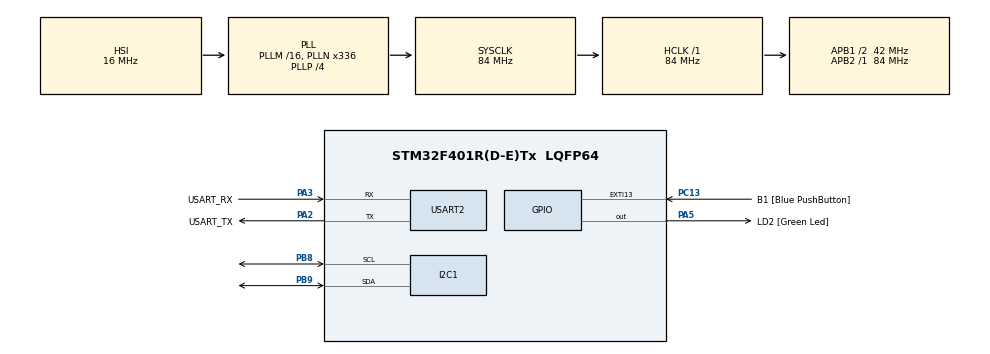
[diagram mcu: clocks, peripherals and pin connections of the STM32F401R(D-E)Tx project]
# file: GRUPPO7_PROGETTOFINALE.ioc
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Mcu.Family=STM32F4
Mcu.Name=STM32F401R(D-E)Tx
Mcu.Package=LQFP64
NVIC.PriorityGroup=NVIC_PRIORITYGROUP_0
PA13.GPIO_Label=TMS
PA13.Mode=Serial_Wire
PA13.Signal=SYS_JTMS-SWDIO
PA14.GPIO_Label=TCK
PA14.Mode=Serial_Wire
PA14.Signal=SYS_JTCK-SWCLK
PA2.GPIO_Label=USART_TX
PA2.GPIO_Mode=GPIO_MODE_AF_PP
PA2.GPIO_PuPd=GPIO_NOPULL
PA2.GPIO_Speed=GPIO_SPEED_FREQ_LOW
PA2.Mode=Asynchronous
PA2.Signal=USART2_TX
PA3.GPIO_Label=USART_RX
PA3.GPIO_Mode=GPIO_MODE_AF_PP
PA3.GPIO_PuPd=GPIO_NOPULL
PA3.GPIO_Speed=GPIO_SPEED_FREQ_LOW
PA3.Mode=Asynchronous
PA3.Signal=USART2_RX
PA5.GPIO_Label=LD2 [Green Led]
PA5.GPIO_Mode=GPIO_MODE_OUTPUT_PP
PA5.GPIO_PuPd=GPIO_NOPULL
PA5.GPIO_Speed=GPIO_SPEED_FREQ_LOW
PA5.Signal=GPIO_Output
PB3.GPIO_Label=SWO
PB3.Signal=SYS_JTDO-SWO
PB8.Mode=I2C
PB8.Signal=I2C1_SCL
PB9.Mode=I2C
PB9.Signal=I2C1_SDA
PC13-ANTI_TAMP.GPIO_Label=B1 [Blue PushButton]
PC13-ANTI_TAMP.GPIO_ModeDefaultEXTI=GPIO_MODE_IT_FALLING
PC13-ANTI_TAMP.GPIO_PuPd=GPIO_NOPULL
PC13-ANTI_TAMP.Signal=GPXTI13
PC14-OSC32_IN.Mode=LSE-External-Oscillator
PC14-OSC32_IN.Signal=RCC_OSC32_IN
PC15-OSC32_OUT.Mode=LSE-External-Oscillator
PC15-OSC32_OUT.Signal=RCC_OSC32_OUT
PH0\ -\ OSC_IN.Mode=HSE-External-Clock-Source
PH0\ -\ OSC_IN.Signal=RCC_OSC_IN
PH1\ -\ OSC_OUT.Mode=HSE-External-Clock-Source
PH1\ -\ OSC_OUT.Signal=RCC_OSC_OUT
ProjectManager.HeapSize=0x200
ProjectManager.StackSize=0x400
ProjectManager.TargetToolchain=STM32CubeIDE
RCC.48MHZClocksFreq_Value=48000000
RCC.AHBFreq_Value=84000000
RCC.APB1CLKDivider=RCC_HCLK_DIV2
RCC.APB1Freq_Value=42000000
RCC.APB1TimFreq_Value=84000000
RCC.APB2Freq_Value=84000000
RCC.APB2TimFreq_Value=84000000
RCC.CortexFreq_Value=84000000
RCC.HCLKFreq_Value=84000000
RCC.HSE_VALUE=8000000
RCC.HSI_VALUE=16000000
RCC.PLLN=336
RCC.PLLP=RCC_PLLP_DIV4
RCC.PLLQ=7
RCC.SYSCLKFreq_VALUE=84000000
RCC.SYSCLKSource=RCC_SYSCLKSOURCE_PLLCLK
RCC.VCOOutputFreq_Value=336000000
USART2.VirtualMode=VM_ASYNC
board=NUCLEO-F401RE

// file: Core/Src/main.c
/* USER CODE BEGIN Header */
/**
  ******************************************************************************
  * @file           : main.c
  * @brief          : Main program body
  ******************************************************************************
  * @attention
  *
  * Copyright (c) 2022 STMicroelectronics.
  * All rights reserved.
  *
  * This software is licensed under terms that can be found in the LICENSE file
  * in the root directory of this software component.
  * If no LICENSE file comes with this software, it is provided AS-IS.
  *
  ******************************************************************************
  */
/* USER CODE END Header */
#include "main.h"

/* USER CODE BEGIN Includes */
#include "stdio.h"
#include "lsm6dsox_read_data_polling.h"
#include "arm_math.h"
/* USER CODE END Includes */

/* USER CODE BEGIN PV */
#define I2C_REQUEST_WRITE                       0x00
#define I2C_REQUEST_READ                        0x01

#define FFT_Length  							1024

float32_t FFT_Input_Q15_f[50];
float32_t aFFT_Input_Q15[50];

/* USER CODE END PM */

/* Private variables ---------------------------------------------------------*/

/* USER CODE BEGIN PV */
char msg_uart[2000];
int size_uart_tx = 0;
int elapsed_time = 0;

/* Print function */
void print_uart(char *msg, int size_tx)
{
	while(!(USART2->SR & USART_SR_TC));

	for (int inx_pck=0; inx_pck<size_tx; inx_pck++)
	{
	  LL_USART_TransmitData8(USART2, msg[inx_pck]);
	  while(!(USART2->SR & USART_SR_TC));
	}
}

/* I2C write function */
void i2c_write(uint8_t dev_addr, uint8_t reg, uint8_t *data, int tx_size)
{
	/* Prepare CAK for Master data RX */
	//LL_I2C_AcknowledgeNextData(I2C1, LL_I2C_ACK);

	/* Master generates Start condition */
	LL_I2C_GenerateStartCondition(I2C1);

	while(!LL_I2C_IsActiveFlag_SB(I2C1));

	/* Send Slave address with a 7-Bit SLAVE_OWN_ADDRESS for a write request */
	LL_I2C_TransmitData8(I2C1, (uint8_t)(dev_addr<<1)| I2C_REQUEST_WRITE);

	/* Address of the device */
	while(!LL_I2C_IsActiveFlag_ADDR(I2C1));

	LL_I2C_ClearFlag_ADDR(I2C1);

	/* TX the register */
	LL_I2C_TransmitData8(I2C1, reg);

	/* Wait until the TX register is emptied */
	while(!LL_I2C_IsActiveFlag_TXE(I2C1));

	/* Send the data */
	for(int inx_tx = 0; inx_tx<tx_size; inx_tx++)
	{
		LL_I2C_TransmitData8(I2C1, data[inx_tx]);

		while(!LL_I2C_IsActiveFlag_TXE(I2C1));

	}

	/* Master generates Stop condition */
	LL_I2C_GenerateStopCondition(I2C1);

	while(LL_I2C_IsActiveFlag_BUSY(I2C1));

}

/* I2C read function */
void i2c_read(uint8_t dev_addr, uint8_t reg, uint8_t *data_received, int rx_size)
{
	/*Starting the tx part to ping the sensor */
	/* Master generates Start condition */
	LL_I2C_GenerateStartCondition(I2C1);

	/* Wait for the start bit to show up */
	while(!LL_I2C_IsActiveFlag_SB(I2C1));

	/* Send Slave address with a 7-Bit SLAVE_OWN_ADDRESS for a write request */
	LL_I2C_TransmitData8(I2C1, (uint8_t)(dev_addr<<1)| I2C_REQUEST_WRITE);

	/* Wait until the ADDR is acknowledged */
	while(!LL_I2C_IsActiveFlag_ADDR(I2C1));

	/* Clear ADDR flag value in ISR register */
	LL_I2C_ClearFlag_ADDR(I2C1);

	/* Send the register to be read */
	LL_I2C_TransmitData8(I2C1, (uint8_t)reg);

	/* Wait for the tx to finish */
	while(!LL_I2C_IsActiveFlag_TXE(I2C1));

	/*Starting the read part! */
	/* Master generates Start condition */
	LL_I2C_GenerateStartCondition(I2C1);

	/* Wait for the start bit to show up */
	while(!LL_I2C_IsActiveFlag_SB(I2C1));

	/* Send Slave address with a 7-Bit SLAVE_OWN_ADDRESS for a write request */
	LL_I2C_TransmitData8(I2C1, (uint8_t)(dev_addr<<1)| I2C_REQUEST_READ);

	/* Wait until the ADDR is acknowledged */
	while(!LL_I2C_IsActiveFlag_ADDR(I2C1));

	/* Clear ADDR flag value in ISR register */
	LL_I2C_ClearFlag_ADDR(I2C1);

	for(int inx_data = 0; inx_data<rx_size; inx_data++)
	{
		/* Set the (N)ACK depending on the state. NACK will terminate the transmission */
		if(inx_data<(rx_size-1))
			LL_I2C_AcknowledgeNextData(I2C1, LL_I2C_ACK);
		else
			LL_I2C_AcknowledgeNextData(I2C1, LL_I2C_NACK);

		/* Wait until the data arrives */
		while(!LL_I2C_IsActiveFlag_RXNE(I2C1));

		/* Store the data */
		data_received[inx_data] = LL_I2C_ReceiveData8(I2C1);
	}

	/* Master generates Stop condition */
	LL_I2C_GenerateStopCondition(I2C1);

	/* Make sure all is completed */
	while(LL_I2C_IsActiveFlag_BUSY(I2C1));

}

/* Delay function, remember to tick the variable @elapsed_time on the Systick! */
void delay_ms(int ms)
{
	elapsed_time = 0;
	while(elapsed_time<ms);
}

/* USER CODE END PV */

void SystemClock_Config(void);
static void MX_GPIO_Init(void);
static void MX_USART2_UART_Init(void);
static void MX_I2C1_Init(void);

int main(void)
{

  /* MCU Configuration--------------------------------------------------------*/

  /* Reset of all peripherals, Initializes the Flash interface and the Systick. */
  HAL_Init();

  /* Configure the system clock */
  SystemClock_Config();

  /* Initialize all configured peripherals */
  MX_GPIO_Init();
  MX_USART2_UART_Init();
  MX_I2C1_Init();
  /* USER CODE BEGIN 2 */
  LL_I2C_Enable(I2C1);
  /* USER CODE END 2 */

  /* Infinite loop */
  while (1)
  {

    /* USER CODE BEGIN 3 */

	  lsm6dsox_read_data_polling();

  }
  /* USER CODE END 3 */
}

void SystemClock_Config(void)
{
  RCC_OscInitTypeDef RCC_OscInitStruct = {0};
  RCC_ClkInitTypeDef RCC_ClkInitStruct = {0};

  /** Configure the main internal regulator output voltage
  */
  __HAL_RCC_PWR_CLK_ENABLE();
  __HAL_PWR_VOLTAGESCALING_CONFIG(PWR_REGULATOR_VOLTAGE_SCALE2);
  /** Initializes the RCC Oscillators according to the specified parameters
  * in the RCC_OscInitTypeDef structure.
  */
  RCC_OscInitStruct.OscillatorType = RCC_OSCILLATORTYPE_HSI;
  RCC_OscInitStruct.HSIState = RCC_HSI_ON;
  RCC_OscInitStruct.HSICalibrationValue = RCC_HSICALIBRATION_DEFAULT;
  RCC_OscInitStruct.PLL.PLLState = RCC_PLL_ON;
  RCC_OscInitStruct.PLL.PLLSource = RCC_PLLSOURCE_HSI;
  RCC_OscInitStruct.PLL.PLLM = 16;
  RCC_OscInitStruct.PLL.PLLN = 336;
  RCC_OscInitStruct.PLL.PLLP = RCC_PLLP_DIV4;
  RCC_OscInitStruct.PLL.PLLQ = 7;
  if (HAL_RCC_OscConfig(&RCC_OscInitStruct) != HAL_OK)
  {
    Error_Handler();
  }
  /** Initializes the CPU, AHB and APB buses clocks
  */
  RCC_ClkInitStruct.ClockType = RCC_CLOCKTYPE_HCLK|RCC_CLOCKTYPE_SYSCLK
                              |RCC_CLOCKTYPE_PCLK1|RCC_CLOCKTYPE_PCLK2;
  RCC_ClkInitStruct.SYSCLKSource = RCC_SYSCLKSOURCE_PLLCLK;
  RCC_ClkInitStruct.AHBCLKDivider = RCC_SYSCLK_DIV1;
  RCC_ClkInitStruct.APB1CLKDivider = RCC_HCLK_DIV2;
  RCC_ClkInitStruct.APB2CLKDivider = RCC_HCLK_DIV1;

  if (HAL_RCC_ClockConfig(&RCC_ClkInitStruct, FLASH_LATENCY_2) != HAL_OK)
  {
    Error_Handler();
  }
}

static void MX_I2C1_Init(void)
{

  LL_I2C_InitTypeDef I2C_InitStruct = {0};

  LL_GPIO_InitTypeDef GPIO_InitStruct = {0};

  LL_AHB1_GRP1_EnableClock(LL_AHB1_GRP1_PERIPH_GPIOB);
  /**I2C1 GPIO Configuration
  PB8   ------> I2C1_SCL
  PB9   ------> I2C1_SDA
  */
  GPIO_InitStruct.Pin = LL_GPIO_PIN_8|LL_GPIO_PIN_9;
  GPIO_InitStruct.Mode = LL_GPIO_MODE_ALTERNATE;
  GPIO_InitStruct.Speed = LL_GPIO_SPEED_FREQ_VERY_HIGH;
  GPIO_InitStruct.OutputType = LL_GPIO_OUTPUT_OPENDRAIN;
  GPIO_InitStruct.Pull = LL_GPIO_PULL_NO;
  GPIO_InitStruct.Alternate = LL_GPIO_AF_4;
  LL_GPIO_Init(GPIOB, &GPIO_InitStruct);

  /* Peripheral clock enable */
  LL_APB1_GRP1_EnableClock(LL_APB1_GRP1_PERIPH_I2C1);

  /** I2C Initialization
  */
  LL_I2C_DisableOwnAddress2(I2C1);
  LL_I2C_DisableGeneralCall(I2C1);
  LL_I2C_EnableClockStretching(I2C1);
  I2C_InitStruct.PeripheralMode = LL_I2C_MODE_I2C;
  I2C_InitStruct.ClockSpeed = 100000;
  I2C_InitStruct.DutyCycle = LL_I2C_DUTYCYCLE_2;
  I2C_InitStruct.OwnAddress1 = 0;
  I2C_InitStruct.TypeAcknowledge = LL_I2C_ACK;
  I2C_InitStruct.OwnAddrSize = LL_I2C_OWNADDRESS1_7BIT;
  LL_I2C_Init(I2C1, &I2C_InitStruct);
  LL_I2C_SetOwnAddress2(I2C1, 0);

}

static void MX_USART2_UART_Init(void)
{

  LL_USART_InitTypeDef USART_InitStruct = {0};

  LL_GPIO_InitTypeDef GPIO_InitStruct = {0};

  /* Peripheral clock enable */
  LL_APB1_GRP1_EnableClock(LL_APB1_GRP1_PERIPH_USART2);

  LL_AHB1_GRP1_EnableClock(LL_AHB1_GRP1_PERIPH_GPIOA);
  /**USART2 GPIO Configuration
  PA2   ------> USART2_TX
  PA3   ------> USART2_RX
  */
  GPIO_InitStruct.Pin = USART_TX_Pin|USART_RX_Pin;
  GPIO_InitStruct.Mode = LL_GPIO_MODE_ALTERNATE;
  GPIO_InitStruct.Speed = LL_GPIO_SPEED_FREQ_LOW;
  GPIO_InitStruct.OutputType = LL_GPIO_OUTPUT_PUSHPULL;
  GPIO_InitStruct.Pull = LL_GPIO_PULL_NO;
  GPIO_InitStruct.Alternate = LL_GPIO_AF_7;
  LL_GPIO_Init(GPIOA, &GPIO_InitStruct);

  USART_InitStruct.BaudRate = 115200;
  USART_InitStruct.DataWidth = LL_USART_DATAWIDTH_8B;
  USART_InitStruct.StopBits = LL_USART_STOPBITS_1;
  USART_InitStruct.Parity = LL_USART_PARITY_NONE;
  USART_InitStruct.TransferDirection = LL_USART_DIRECTION_TX_RX;
  USART_InitStruct.HardwareFlowControl = LL_USART_HWCONTROL_NONE;
  USART_InitStruct.OverSampling = LL_USART_OVERSAMPLING_16;
  LL_USART_Init(USART2, &USART_InitStruct);
  LL_USART_ConfigAsyncMode(USART2);
  LL_USART_Enable(USART2);

}

static void MX_GPIO_Init(void)
{
  LL_EXTI_InitTypeDef EXTI_InitStruct = {0};
  LL_GPIO_InitTypeDef GPIO_InitStruct = {0};

  /* GPIO Ports Clock Enable */
  LL_AHB1_GRP1_EnableClock(LL_AHB1_GRP1_PERIPH_GPIOC);
  LL_AHB1_GRP1_EnableClock(LL_AHB1_GRP1_PERIPH_GPIOH);
  LL_AHB1_GRP1_EnableClock(LL_AHB1_GRP1_PERIPH_GPIOA);
  LL_AHB1_GRP1_EnableClock(LL_AHB1_GRP1_PERIPH_GPIOB);

  /**/
  LL_GPIO_ResetOutputPin(LD2_GPIO_Port, LD2_Pin);

  /**/
  LL_SYSCFG_SetEXTISource(LL_SYSCFG_EXTI_PORTC, LL_SYSCFG_EXTI_LINE13);

  /**/
  EXTI_InitStruct.Line_0_31 = LL_EXTI_LINE_13;
  EXTI_InitStruct.LineCommand = ENABLE;
  EXTI_InitStruct.Mode = LL_EXTI_MODE_IT;
  EXTI_InitStruct.Trigger = LL_EXTI_TRIGGER_FALLING;
  LL_EXTI_Init(&EXTI_InitStruct);

  /**/
  LL_GPIO_SetPinPull(B1_GPIO_Port, B1_Pin, LL_GPIO_PULL_NO);

  /**/
  LL_GPIO_SetPinMode(B1_GPIO_Port, B1_Pin, LL_GPIO_MODE_INPUT);

  /**/
  GPIO_InitStruct.Pin = LD2_Pin;
  GPIO_InitStruct.Mode = LL_GPIO_MODE_OUTPUT;
  GPIO_InitStruct.Speed = LL_GPIO_SPEED_FREQ_LOW;
  GPIO_InitStruct.OutputType = LL_GPIO_OUTPUT_PUSHPULL;
  GPIO_InitStruct.Pull = LL_GPIO_PULL_NO;
  LL_GPIO_Init(LD2_GPIO_Port, &GPIO_InitStruct);

}

void Error_Handler(void)
{
  __disable_irq();
  while (1)
  {
  }
}
